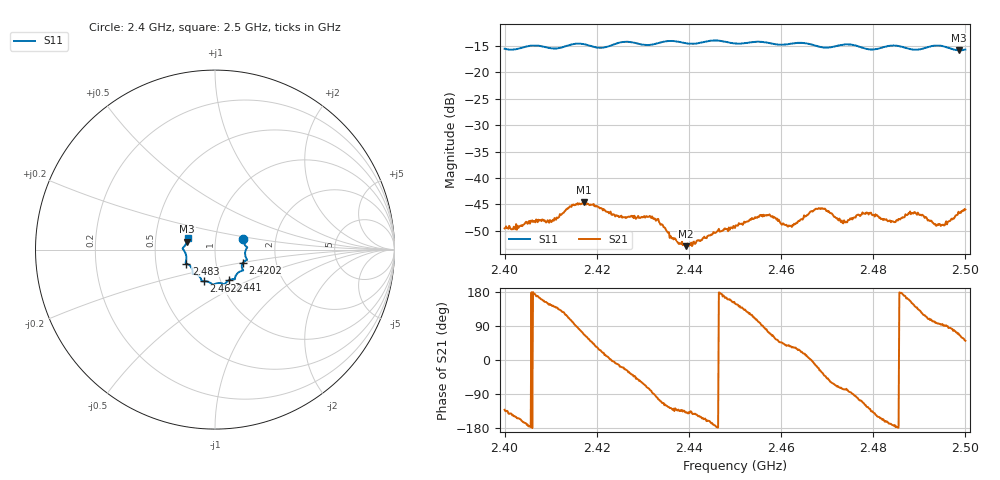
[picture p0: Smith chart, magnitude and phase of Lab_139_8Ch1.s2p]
# Hz S RI R 50
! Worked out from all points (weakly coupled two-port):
!   601 points, 2.4 GHz to 2.5 GHz, reference 50 ohm
!   highest |S21| = -44.61 dB at 2.4172 GHz (marker M1); lowest = -52.9 dB at 2.4393 GHz (marker M2)
!   lowest |S11| = -15.8 dB at 2.4987 GHz (marker M3), VSWR 1.39, Z = 36.4 + j3.3 ohm
!   |S11| at or under -10 dB: start of sweep to end of sweep
!   S12 and S22 are empty: the file has one direction only
!   S11 on the Smith chart (normalised r, x): 2.4 GHz: 1.36, +0.17; 2.4202 GHz: 1.35, -0.20; 2.441 GHz: 1.10, -0.39; 2.4622 GHz: 0.83, -0.30; 2.483 GHz: 0.72, -0.12; 2.5 GHz: 0.73, +0.09
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2.4e9  0.1563 0.0604  -0.00221 -0.0025  0 0  0 0
2.410167e9  0.169 -0.00921  -0.00314 0.00219  0 0  0 0
2.416667e9  0.1778 -0.0583  0.00148 0.00553  0 0  0 0
2.417167e9  0.1761 -0.059  0.0022 0.00545  0 0  0 0
2.420167e9  0.1562 -0.0719  0.00457 0.00288  0 0  0 0
2.433333e9  0.1129 -0.1523  -0.000961 -0.00399  0 0  0 0
2.436333e9  0.1101 -0.1655  -0.00171 -0.00206  0 0  0 0
2.439333e9  0.0928 -0.1648  -0.0017 -0.00149  0 0  0 0
2.441e9  0.077 -0.1704  -0.00199 -0.00155  0 0  0 0
2.45e9  0.0267 -0.1864  -0.00289 0.00173  0 0  0 0
2.457e9  -0.0185 -0.1908  0.00102 0.00435  0 0  0 0
2.462167e9  -0.0629 -0.1765  0.00285 0.00205  0 0  0 0
2.466667e9  -0.0766 -0.167  0.00486 -0.000155  0 0  0 0
2.469167e9  -0.0891 -0.1479  0.00407 -0.00309  0 0  0 0
2.473833e9  -0.124 -0.1363  0.000824 -0.00377  0 0  0 0
2.478167e9  -0.1266 -0.1119  -0.00219 -0.00408  0 0  0 0
2.483e9  -0.159 -0.078  -0.00378 -0.0012  0 0  0 0
2.483333e9  -0.1607 -0.0774  -0.00383 -0.000851  0 0  0 0
2.4885e9  -0.1596 -0.0418  -0.00401 0.00239  0 0  0 0
2.495e9  -0.1777 0.0106  -0.000317 0.00359  0 0  0 0
2.498667e9  -0.1556 0.0441  0.00188 0.00425  0 0  0 0
2.5e9  -0.1527 0.0626  0.00318 0.0039  0 0  0 0
